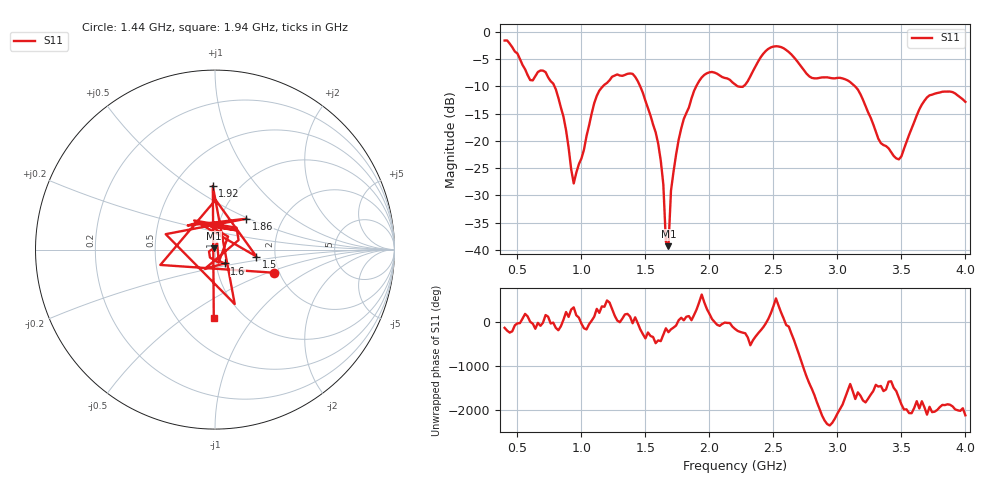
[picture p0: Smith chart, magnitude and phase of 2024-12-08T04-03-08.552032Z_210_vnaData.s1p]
!Created with skrf (http://scikit-rf.org).
# Hz S RI R 50.0
!freq ReS11 ImS11
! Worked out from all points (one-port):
!   181 points, 400 MHz to 4 GHz, reference 50 ohm
!   lowest |S11| = -39.3 dB at 1.68 GHz (marker M1), VSWR 1.02, Z = 49.3 + j0.792 ohm
!   |S11| at or under -10 dB: 790.2 MHz to 1.167 GHz (376.6 MHz wide, 38.5 % of centre); 1.46 GHz to 1.896 GHz (436.3 MHz wide, 26 % of centre); 3.139 GHz to end of sweep (the widest 3 of 4)
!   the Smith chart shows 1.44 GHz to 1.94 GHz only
!   S11 on the Smith chart (normalised r, x): 1.44 GHz: 1.88, -0.55; 1.5 GHz: 1.59, -0.13; 1.6 GHz: 1.10, -0.17; 1.86 GHz: 1.32, +0.48; 1.92 GHz: 0.76, +0.62; 1.94 GHz: 0.74, -0.66
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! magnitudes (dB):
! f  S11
! 400 MHz  -1.6
! 600 MHz  -8.8
! 720 MHz  -7.4
! 860 MHz  -15.6
! 940 MHz  -27.8
! 1.12 GHz  -11.7
! 1.3 GHz  -8.0
! 1.44 GHz  -9.0
! 1.5 GHz  -12.6
! 1.6 GHz  -20.5
! 1.64 GHz  -28.0
! 1.66 GHz  -38.5
! 1.68 GHz  -39.3
! 1.7 GHz  -29.1
! 1.76 GHz  -19.8
! 1.86 GHz  -12.2
! 1.92 GHz  -9.0
! 1.94 GHz  -8.3
! 2.2 GHz  -9.6
! 2.28 GHz  -9.7
! 2.48 GHz  -2.8
! 2.66 GHz  -4.6
! 2.8 GHz  -8.4
! 3.1 GHz  -9.2
! 3.46 GHz  -23.2
! 3.56 GHz  -18.9
! 3.72 GHz  -11.6
! 4 GHz  -12.8
